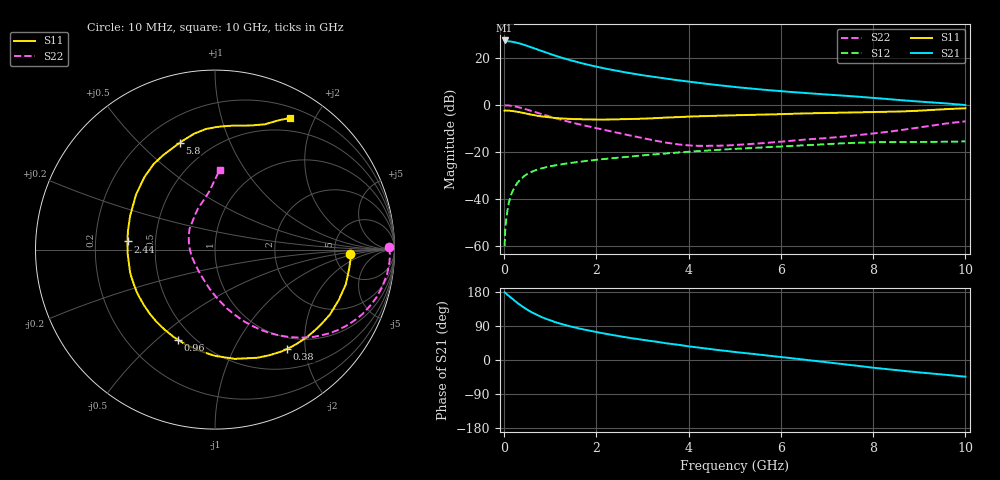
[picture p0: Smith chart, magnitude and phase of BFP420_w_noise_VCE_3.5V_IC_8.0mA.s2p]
! Infineon Technologies  Discrete & RF Semiconductors
! BFP420
! VCE =  3.5 V,  IC =  8.0 mA
! Common Emitter S-Parameters:  Jan 2016
# GHz  S  MA  R  50
!  f  S11  S21  S12  S22
! GHz  MAG  ANG  MAG  ANG  MAG  ANG  MAG  ANG
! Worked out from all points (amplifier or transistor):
!   233 points, 10 MHz to 10 GHz, reference 50 ohm
!   highest |S21| = 27.3 dB at 10 MHz (marker M1)
!   |S21| within 3 dB of that: start of sweep to 601.4 MHz
!   unconditionally stable (mu >= 1): 2.577 GHz to end of sweep
!   at 200 MHz: K = 0.14, MSG = 31.3 dB, |S12| = -36.0 dB
!   at 1.74 GHz: K = 0.76, MSG = 20.7 dB, |S12| = -23.9 dB
!   at 10 GHz: K = 1.10, MAG = 5.8 dB, |S12| = -15.6 dB
!   lowest NFmin = 0.79 dB at 900 MHz
!   S11 on the Smith chart (normalised r, x): 10 MHz: 6.98, -0.76; 380 MHz: 0.80, -1.67; 960 MHz: 0.41, -0.59; 2.44 GHz: 0.34, +0.04; 5.8 GHz: 0.34, +0.66; 10 GHz: 0.33, +1.68
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0.01  0.7521 -1.8  23.24 178.9  0.001 63.5  0.9694 0.7
0.02  0.7581 -2.9  22.61 177.6  0.0019 72.3  0.9751 -1.5
0.1  0.7541 -14.9  22.43 169.1  0.0081 78.9  0.9685 -8.2
0.2  0.7354 -29.5  21.65 159.0  0.0159 74.3  0.9392 -16.3
0.3  0.7077 -43.5  20.52 149.3  0.0229 68.5  0.8959 -23.7
0.38  0.6836 -53.9  19.47 142.5  0.0277 64.3  0.8546 -29.0
0.5  0.6472 -68.6  17.82 132.8  0.0339 58.9  0.7895 -36.2
0.6  0.6186 -79.7  16.47 125.7  0.0381 55.1  0.7361 -41.3
0.8  0.5703 -99.0  13.99 113.9  0.0447 49.4  0.6385 -49.7
0.96  0.5428 -112.3  12.34 106.3  0.0487 46.2  0.5727 -55.2
1.1  0.5263 -122.6  11.11 100.3  0.0519 44.1  0.5233 -59.5
1.28  0.5107 -134.3  9.792 93.7  0.0555 42.0  0.4685 -64.3
1.68  0.4926 -155.4  7.651 81.7  0.0626 38.8  0.3753 -73.5
1.96  0.4875 -167.4  6.58 74.6  0.0674 37.2  0.3259 -79.4
2.44  0.4895 174.7  5.28 64.1  0.0754 34.6  0.2573 -89.9
3.4  0.5288 147.6  3.722 46.4  0.0912 29.3  0.1646 -117.6
4  0.5638 134.3  3.106 36.0  0.1011 25.7  0.1379 -142.4
5.1  0.602 117.6  2.339 19.9  0.1175 18.2  0.1415 176.5
5.8  0.6258 108.4  2.024 10.6  0.1274 13.6  0.1591 156.5
6.8  0.6659 96.6  1.705 -3.2  0.1433 6.2  0.191 134.4
8.4  0.712 76.0  1.303 -25.6  0.1615 -9.5  0.2738 104.9
10  0.8455 60.2  0.989 -44.0  0.1669 -20.5  0.4467 86.5
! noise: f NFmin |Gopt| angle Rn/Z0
0.9  0.79  0.08  30  0.13
1.8  1.14  0.06  171  0.12
2.4  1.24  0.1  160  0.13
3  1.32  0.17  -165  0.12
4  1.46  0.32  -132  0.14
5  1.85  0.39  -110  0.25
6  2.3  0.46  -95  0.37
